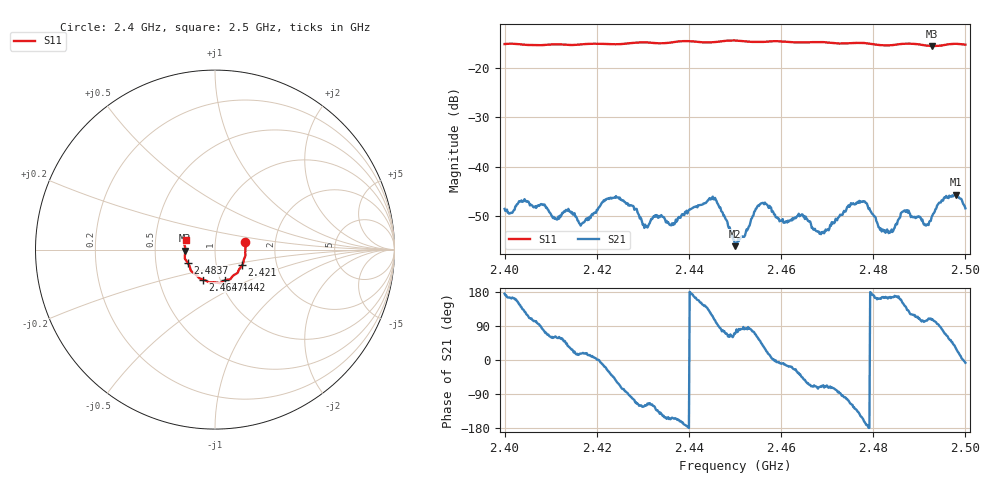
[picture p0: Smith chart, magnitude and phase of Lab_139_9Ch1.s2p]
# Hz S RI R 50
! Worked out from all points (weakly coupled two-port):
!   601 points, 2.4 GHz to 2.5 GHz, reference 50 ohm
!   highest |S21| = -45.65 dB at 2.498 GHz (marker M1); lowest = -56.0 dB at 2.45 GHz (marker M2)
!   lowest |S11| = -15.6 dB at 2.4928 GHz (marker M3), VSWR 1.40, Z = 35.8 - j0.386 ohm
!   |S11| at or under -10 dB: start of sweep to end of sweep
!   S12 and S22 are empty: the file has one direction only
!   S11 on the Smith chart (normalised r, x): 2.4 GHz: 1.40, +0.12; 2.421 GHz: 1.33, -0.24; 2.4442 GHz: 1.05, -0.37; 2.4647 GHz: 0.83, -0.29; 2.4837 GHz: 0.73, -0.11; 2.5 GHz: 0.72, +0.08
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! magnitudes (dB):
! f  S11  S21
! 2.4 GHz  -15.2  -48.5
! 2.4047 GHz  -15.4  -47.0
! 2.4167 GHz  -15.3  -51.6
! 2.421 GHz  -15.2  -47.4
! 2.4247 GHz  -15.2  -46.2
! 2.4305 GHz  -14.9  -51.7
! 2.4333 GHz  -15.1  -50.3
! 2.4363 GHz  -14.9  -51.4
! 2.4442 GHz  -14.9  -46.7
! 2.446 GHz  -14.8  -46.9
! 2.45 GHz  -14.5  -56.0
! 2.4557 GHz  -14.8  -47.4
! 2.4647 GHz  -14.9  -49.6
! 2.4667 GHz  -14.8  -52.4
! 2.469 GHz  -14.8  -53.3
! 2.4775 GHz  -15.0  -47.1
! 2.4833 GHz  -15.5  -53.4
! 2.4837 GHz  -15.5  -53.3
! 2.4868 GHz  -15.1  -48.8
! 2.4928 GHz  -15.6  -49.8
! 2.498 GHz  -15.2  -45.7
! 2.5 GHz  -15.3  -48.4
